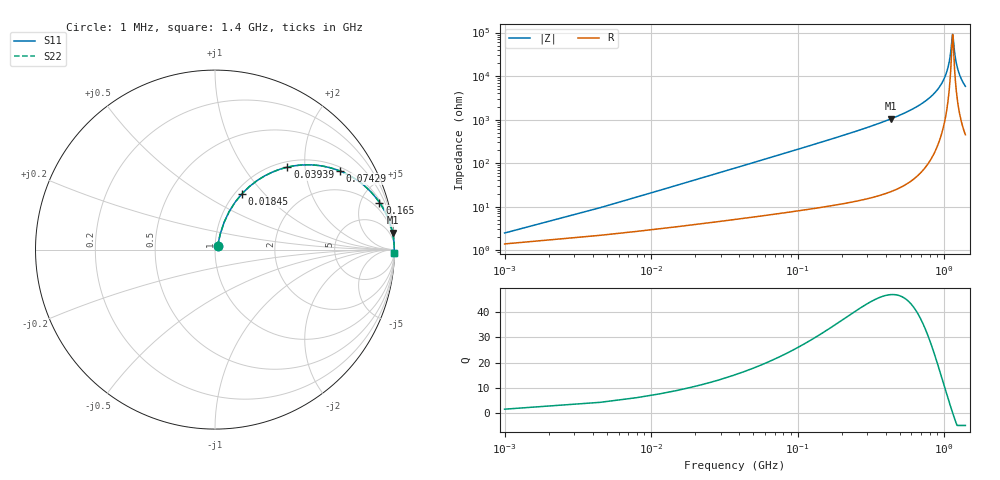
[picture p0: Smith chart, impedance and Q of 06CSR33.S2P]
! Coilcraft 0603CS-R33 Chip Inductor
! 21 May 2002
# MHZ S MA R 50
!Freq  MagS11  AngS11  MagS21  AngS21  MagS12  AngS12  MagS22  AngS22
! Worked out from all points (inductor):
!   402 points, 1 MHz to 1.4 GHz, reference 50 ohm
!   read as one part in series: L = 327 nH near 7.98 MHz
!   highest Q = 47 at 437.2 MHz (marker M1), where L = 383 nH
!   self-resonance near 1.146 GHz
!   S11 on the Smith chart (normalised r, x): 1 MHz: 1.03, +0.04; 18.45 MHz: 1.08, +0.76; 39.39 MHz: 1.10, +1.62; 74.29 MHz: 1.14, +3.07; 165 MHz: 1.21, +6.92; 1.4 GHz: open
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1  0.02449 54.7  0.986 -1.2  0.986 -1.2  0.02449 54.7
11.47  0.2248 69.6  0.9454 -12.9  0.9454 -12.9  0.2248 69.6
18.45  0.3449 64.3  0.9052 -20.1  0.9052 -20.1  0.3449 64.3
39.39  0.6115 48.7  0.7531 -37.6  0.7531 -37.6  0.6115 48.7
74.29  0.821 32.3  0.5351 -55.1  0.5351 -55.1  0.821 32.3
112.68  0.9077 22.8  0.388 -65.1  0.388 -65.1  0.9077 22.8
165.03  0.9532 16.0  0.2752 -72.3  0.2752 -72.3  0.9532 16.0
234.83  0.9762 11.2  0.1938 -77.4  0.1938 -77.4  0.9762 11.2
437.25  0.9935 5.4  0.09448 -83.4  0.09448 -83.4  0.9935 5.4
468.66  0.9945 4.9  0.08599 -83.8  0.08599 -83.8  0.9945 4.9
702.49  0.9979 2.5  0.04316 -86.0  0.04316 -86.0  0.9979 2.5
936.32  0.9988 1.0  0.01728 -85.6  0.01728 -85.6  0.9988 1.0
1013.1  0.9989 0.6  0.01053 -83.7  0.01053 -83.7  0.9989 0.6
1068.94  0.9989 0.3  0.005998 -79.4  0.005998 -79.4  0.9989 0.3
1103.84  0.9989 0.2  0.003353 -71.0  0.003353 -71.0  0.9989 0.2
1142.23  0.9989 0.0  0.001136 -13.9  0.001136 -13.9  0.9989 0.0
1152.7  0.9989 -0.0  0.001217 24.3  0.001217 24.3  0.9989 -0.0
1170.15  0.9989 -0.1  0.002099 57.6  0.002099 57.6  0.9989 -0.1
1205.05  0.9988 -0.2  0.00442 74.8  0.00442 74.8  0.9988 -0.2
1250.42  0.9988 -0.4  0.007504 80.5  0.007504 80.5  0.9988 -0.4
1316.73  0.9987 -0.7  0.01188 83.3  0.01188 83.3  0.9987 -0.7
1400  0.9985 -1.0  0.01714 84.6  0.01714 84.6  0.9985 -1.0
